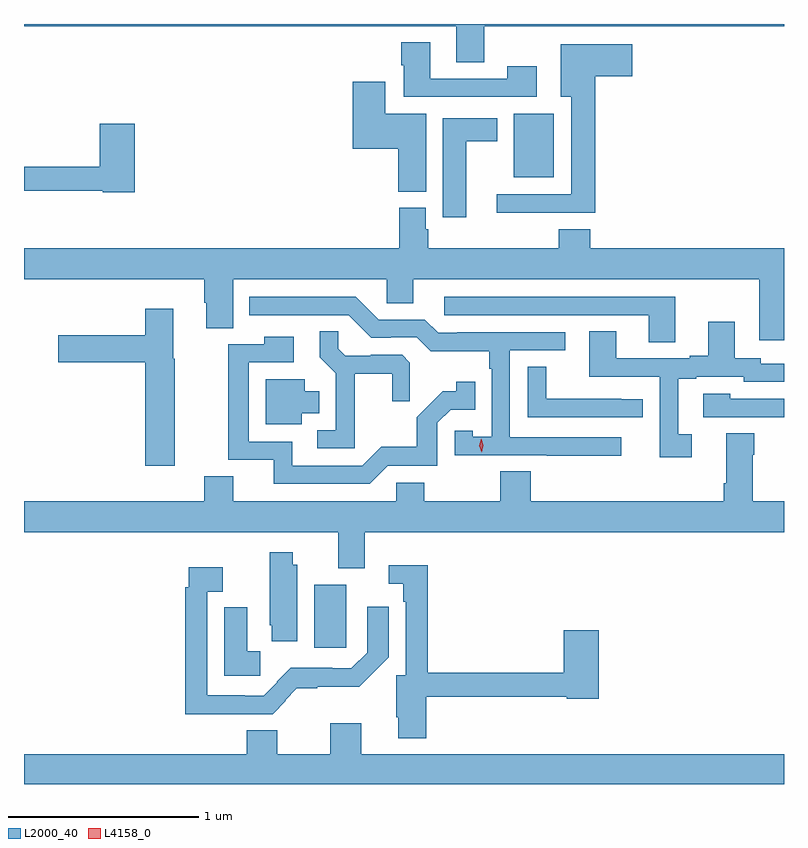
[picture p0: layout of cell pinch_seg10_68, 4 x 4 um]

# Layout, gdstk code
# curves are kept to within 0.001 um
import gdstk
lib = gdstk.Library(unit=1e-6, precision=1e-09)
def R(c, l, rs):  # rectangles x0, y0, x1, y1
    for r in rs: c.add(gdstk.rectangle(r[:2], r[2:], *l))
def P(c, l, *ps):  # polygons
    for p in ps: c.add(gdstk.Polygon(p, *l))
L2000_40 = (2000, 40)
L4158_0 = (4158, 0)

pinch_seg10_68 = lib.new_cell('pinch_seg10_68')
R(pinch_seg10_68, L2000_40, [(832.016,1317.024,832.186,1317.358), (833.066,1319.501,833.278,1319.836)])
P(pinch_seg10_68, L2000_40, [(832.911,1320.296),(834.489,1320.296),(834.489,1320.308),(830.489,1320.308),(830.489,1320.296),(832.763,1320.296),(832.763,1320.106),(832.911,1320.106)],
  [(833.188,1320.085),(833.032,1320.085),(833.032,1320.021),(832.627,1320.021),(832.627,1320.211),(832.475,1320.211),(832.475,1320.091),(832.487,1320.091),(832.487,1319.925),(833.188,1319.925)],
  [(833.495,1320.032),(833.689,1320.032),(833.689,1320.202),(833.315,1320.202),(833.315,1319.924),(833.369,1319.924),(833.369,1319.412),(832.977,1319.412),(832.977,1319.315),(833.495,1319.315)],
  [(832.606,1319.836),(832.39,1319.836),(832.39,1320.004),(832.22,1320.004),(832.22,1319.651),(832.46,1319.651),(832.46,1319.425),(832.606,1319.425)],
  [(832.816,1319.69),(832.981,1319.69),(832.981,1319.812),(832.694,1319.812),(832.694,1319.292),(832.816,1319.292)],
  [(831.071,1319.782),(830.888,1319.782),(830.888,1319.558),(830.489,1319.558),(830.489,1319.43),(830.904,1319.43),(830.904,1319.422),(831.071,1319.422)],
  [(834.489,1319.128),(833.468,1319.128),(833.468,1319.227),(833.303,1319.227),(833.303,1319.128),(832.616,1319.128),(832.616,1319.229),(832.603,1319.229),(832.603,1319.34),(832.463,1319.34),(832.463,1319.128),(830.489,1319.128),(830.489,1318.964),(831.437,1318.964),(831.437,1318.842),(831.449,1318.842),(831.449,1318.708),(831.589,1318.708),(831.589,1318.964),(832.398,1318.964),(832.398,1318.837),(832.537,1318.837),(832.537,1318.964),(834.359,1318.964),(834.359,1318.644),(834.489,1318.644)],
  [(833.632,1318.134),(833.046,1318.134),(833.046,1318.59),(833.338,1318.59),(833.338,1318.686),(832.768,1318.686),(832.768,1318.683),(832.668,1318.683),(832.599,1318.752),(832.356,1318.752),(832.236,1318.872),(831.674,1318.872),(831.674,1318.776),(832.197,1318.776),(832.317,1318.656),(832.418,1318.656),(832.418,1318.659),(832.557,1318.659),(832.63,1318.586),(832.938,1318.586),(832.938,1318.493),(832.95,1318.493),(832.95,1318.135),(832.851,1318.135),(832.851,1318.167),(832.755,1318.167),(832.755,1318.038),(833.239,1318.038),(833.239,1318.036),(833.632,1318.036)],
  [(833.917,1318.872),(832.701,1318.872),(832.701,1318.776),(833.777,1318.776),(833.777,1318.633),(833.917,1318.633)],
  [(831.282,1318.545),(831.274,1318.545),(831.274,1318.81),(831.128,1318.81),(831.128,1318.671),(830.67,1318.671),(830.67,1318.529),(831.128,1318.529),(831.128,1317.984),(831.282,1317.984)],
  [(834.004,1318.149),(833.932,1318.149),(833.932,1318.44),(834.028,1318.44),(834.028,1318.452),(834.276,1318.452),(834.276,1318.425),(834.489,1318.425),(834.489,1318.521),(834.366,1318.521),(834.366,1318.548),(834.229,1318.548),(834.229,1318.741),(834.089,1318.741),(834.089,1318.561),(833.993,1318.561),(833.993,1318.548),(833.605,1318.548),(833.605,1318.691),(833.465,1318.691),(833.465,1318.452),(833.835,1318.452),(833.835,1318.029),(834.004,1318.029)],
  [(832.229,1318.466),(832.426,1318.466),(832.426,1318.323),(832.52,1318.323),(832.52,1318.525),(832.479,1318.566),(832.314,1318.566),(832.314,1318.563),(832.18,1318.563),(832.143,1318.6),(832.143,1318.691),(832.045,1318.691),(832.045,1318.555),(832.131,1318.469),(832.131,1318.17),(832.032,1318.17),(832.032,1318.074),(832.229,1318.074)],
  [(832.404,1317.984),(832.665,1317.984),(832.665,1318.209),(832.734,1318.278),(832.865,1318.278),(832.865,1318.426),(832.764,1318.426),(832.764,1318.376),(832.694,1318.376),(832.557,1318.238),(832.557,1318.083),(832.368,1318.083),(832.269,1317.984),(831.901,1317.984),(831.901,1318.11),(831.672,1318.11),(831.672,1318.527),(831.91,1318.527),(831.91,1318.663),(831.754,1318.663),(831.754,1318.623),(831.564,1318.623),(831.564,1318.014),(831.803,1318.014),(831.803,1317.888),(832.308,1317.888)],
  [(833.746,1318.334),(833.633,1318.334),(833.633,1318.335),(833.238,1318.335),(833.238,1318.505),(833.139,1318.505),(833.139,1318.239),(833.746,1318.239)],
  [(831.952,1318.259),(832.042,1318.259),(832.042,1318.375),(831.967,1318.375),(831.967,1318.438),(831.761,1318.438),(831.761,1318.202),(831.952,1318.202)],
  [(834.489,1318.335),(834.207,1318.335),(834.207,1318.363),(834.063,1318.363),(834.063,1318.239),(834.421,1318.239),(834.421,1318.237),(834.489,1318.237)],
  [(832.282,1317.632),(834.489,1317.632),(834.489,1317.796),(834.325,1317.796),(834.325,1318.04),(834.333,1318.04),(834.333,1318.153),(834.185,1318.153),(834.185,1317.892),(834.173,1317.892),(834.173,1317.796),(833.156,1317.796),(833.156,1317.953),(832.996,1317.953),(832.996,1317.796),(832.596,1317.796),(832.596,1317.894),(832.449,1317.894),(832.449,1317.796),(831.589,1317.796),(831.589,1317.929),(831.437,1317.929),(831.437,1317.796),(830.489,1317.796),(830.489,1317.632),(832.142,1317.632),(832.142,1317.443),(832.282,1317.443)],
  [(831.928,1317.462),(831.904,1317.462),(831.904,1317.529),(831.782,1317.529),(831.782,1317.144),(831.794,1317.144),(831.794,1317.06),(831.928,1317.06)],
  [(832.607,1316.766),(833.346,1316.766),(833.346,1316.758),(833.513,1316.758),(833.513,1317.118),(833.33,1317.118),(833.33,1316.894),(832.613,1316.894),(832.613,1317.46),(832.41,1317.46),(832.41,1317.363),(832.485,1317.363),(832.485,1317.266),(832.497,1317.266),(832.497,1316.88),(832.448,1316.88),(832.448,1316.659),(832.46,1316.659),(832.46,1316.549),(832.607,1316.549)],
  [(831.867,1316.745),(831.863,1316.749),(831.925,1316.811),(832.033,1316.811),(832.033,1316.819),(832.253,1316.819),(832.408,1316.976),(832.408,1317.241),(832.296,1317.241),(832.296,1317),(832.212,1316.916),(832.112,1316.916),(832.112,1316.921),(831.893,1316.921),(831.819,1316.847),(831.822,1316.844),(831.75,1316.772),(831.65,1316.772),(831.65,1316.776),(831.453,1316.776),(831.453,1317.32),(831.536,1317.32),(831.536,1317.448),(831.357,1317.448),(831.357,1317.344),(831.337,1317.344),(831.337,1316.675),(831.797,1316.675)],
  [(831.733,1317.007),(831.664,1317.007),(831.664,1317.239),(831.542,1317.239),(831.542,1316.878),(831.733,1316.878)],
  [(834.489,1316.464),(832.264,1316.464),(832.264,1316.629),(832.1,1316.629),(832.1,1316.464),(831.823,1316.464),(831.823,1316.59),(831.662,1316.59),(831.662,1316.464),(830.489,1316.464),(830.489,1316.308),(834.489,1316.308)])
P(pinch_seg10_68, L4158_0, [(832.897,1318.053),(832.897,1318.053),(832.886,1318.089),(832.895,1318.125),(832.895,1318.125),(832.895,1318.125),(832.906,1318.09),(832.897,1318.053)])

lib.write_gds('pinch_seg10_68.gds')
